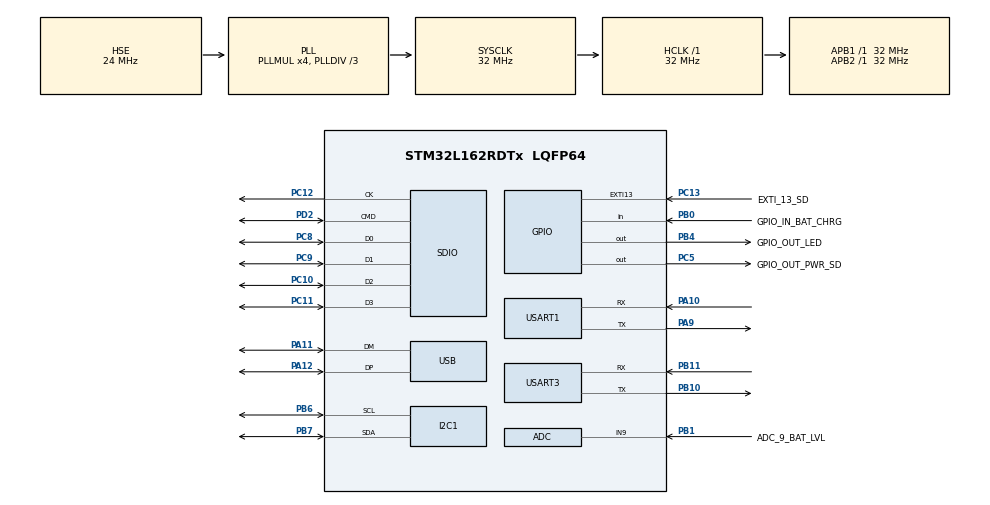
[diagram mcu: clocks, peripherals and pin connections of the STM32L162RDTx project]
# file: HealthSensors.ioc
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ADC.Channel-0\#ChannelRegularConversion=ADC_CHANNEL_9
ADC.ChannelsBank=ADC_CHANNELS_BANK_A
ADC.ClockPrescaler=ADC_CLOCK_ASYNC_DIV1
ADC.ContinuousConvMode=DISABLE
ADC.DMAContinuousRequests=DISABLE
ADC.DataAlign=ADC_DATAALIGN_RIGHT
ADC.DiscontinuousConvMode=DISABLE
ADC.EOCSelection=ADC_EOC_SEQ_CONV
ADC.EnableAnalogWatchDog=false
ADC.ExternalTrigConv=ADC_SOFTWARE_START
ADC.ExternalTrigConvEdge=ADC_EXTERNALTRIGCONVEDGE_NONE
ADC.InjNumberOfConversion=0
ADC.LowPowerAutoPowerOff=ADC_AUTOPOWEROFF_DISABLE
ADC.LowPowerAutoWait=ADC_AUTOWAIT_DISABLE
ADC.NbrOfConversion=1
ADC.NbrOfConversionFlag=1
ADC.Rank-0\#ChannelRegularConversion=1
ADC.Resolution=ADC_RESOLUTION_12B
ADC.SamplingTime-0\#ChannelRegularConversion=ADC_SAMPLETIME_4CYCLES
ADC.ScanConvMode=ADC_SCAN_DISABLE
AES.pKey=01 58 36 28 7F E6 CD 12 9A 65 68 6A 68 C8 98 9B
Mcu.Family=STM32L1
Mcu.Name=STM32L162RDTx
Mcu.Package=LQFP64
NVIC.ADC1_IRQn=true\:0\:0\:false\:true\:true\:9\:true
NVIC.AES_IRQn=true\:0\:0\:false\:true\:true\:11\:true
NVIC.EXTI15_10_IRQn=true\:0\:0\:false\:true\:true\:6\:true
NVIC.FLASH_IRQn=true\:0\:0\:false\:true\:true\:2\:true
NVIC.I2C1_ER_IRQn=true\:0\:0\:false\:true\:true\:8\:true
NVIC.I2C1_EV_IRQn=true\:0\:0\:false\:true\:true\:4\:true
NVIC.PriorityGroup=NVIC_PRIORITYGROUP_4
NVIC.RCC_IRQn=true\:0\:0\:false\:true\:true\:1\:true
NVIC.RTC_Alarm_IRQn=true\:0\:0\:false\:true\:true\:3\:true
NVIC.SDIO_IRQn=true\:0\:0\:false\:true\:true\:5\:true
NVIC.USART1_IRQn=true\:0\:0\:false\:true\:true\:7\:true
NVIC.USART3_IRQn=true\:0\:0\:false\:true\:true\:13\:true
NVIC.USB_HP_IRQn=true\:0\:0\:false\:true\:true\:12\:true
NVIC.USB_LP_IRQn=true\:0\:0\:false\:true\:true\:10\:false
PA10.Mode=Asynchronous
PA10.Signal=USART1_RX
PA11.Mode=Device
PA11.Signal=USB_DM
PA12.Mode=Device
PA12.Signal=USB_DP
PA13.Mode=Serial_Wire
PA13.Signal=SYS_JTMS-SWDIO
PA14.Mode=Serial_Wire
PA14.Signal=SYS_JTCK-SWCLK
PA9.Mode=Asynchronous
PA9.Signal=USART1_TX
PB0.GPIO_Label=GPIO_IN_BAT_CHRG
PB0.Signal=GPIO_Input
PB1.GPIO_Label=ADC_9_BAT_LVL
PB1.Mode=IN9
PB1.Signal=ADC_IN9
PB10.Mode=Asynchronous
PB10.Signal=USART3_TX
PB11.Mode=Asynchronous
PB11.Signal=USART3_RX
PB4.GPIO_Label=GPIO_OUT_LED
PB4.Signal=GPIO_Output
PB6.Mode=I2C
PB6.Signal=I2C1_SCL
PB7.Mode=I2C
PB7.Signal=I2C1_SDA
PC10.Mode=SD_4_bits_Wide_bus
PC10.Signal=SDIO_D2
PC11.Mode=SD_4_bits_Wide_bus
PC11.Signal=SDIO_D3
PC12.Mode=SD_4_bits_Wide_bus
PC12.Signal=SDIO_CK
PC13-WKUP2.GPIO_Label=EXTI_13_SD
PC13-WKUP2.GPIO_ModeDefaultEXTI=GPIO_MODE_IT_RISING_FALLING
PC13-WKUP2.Signal=GPXTI13
PC14-OSC32_IN.Mode=LSE-External-Oscillator
PC14-OSC32_IN.Signal=RCC_OSC32_IN
PC15-OSC32_OUT.Mode=LSE-External-Oscillator
PC15-OSC32_OUT.Signal=RCC_OSC32_OUT
PC5.GPIO_Label=GPIO_OUT_PWR_SD
PC5.Signal=GPIO_Output
PC8.Mode=SD_4_bits_Wide_bus
PC8.Signal=SDIO_D0
PC9.Mode=SD_4_bits_Wide_bus
PC9.Signal=SDIO_D1
PD2.Mode=SD_4_bits_Wide_bus
PD2.Signal=SDIO_CMD
PH0-OSC_IN.Mode=HSE-External-Oscillator
PH0-OSC_IN.Signal=RCC_OSC_IN
PH1-OSC_OUT.Mode=HSE-External-Oscillator
PH1-OSC_OUT.Signal=RCC_OSC_OUT
ProjectManager.HeapSize=0x2000
ProjectManager.StackSize=0x4000
ProjectManager.TargetToolchain=TrueSTUDIO
RCC.48MHZClocksFreq_Value=48000000
RCC.AHBFreq_Value=32000000
RCC.APB1Freq_Value=32000000
RCC.APB1TimFreq_Value=32000000
RCC.APB2Freq_Value=32000000
RCC.APB2TimFreq_Value=32000000
RCC.HCLKFreq_Value=32000000
RCC.HSE_VALUE=24000000
RCC.HSI_VALUE=16000000
RCC.MSI_VALUE=2097000
RCC.PLLDIV=RCC_PLL_DIV3
RCC.PLLMUL=RCC_PLL_MUL4
RCC.RTCClockSelectionVirtual=RCC_RTCCLKSOURCE_LSE
RCC.SYSCLKFreq_VALUE=32000000
RCC.SYSCLKSource=RCC_SYSCLKSOURCE_PLLCLK
RCC.VCOOutputFreq_Value=96000000
RTC.Alarm-Alarm\ A=RTC_ALARM_A
RTC.Date=30
RTC.Hours=20
RTC.Minutes=30
RTC.Month=RTC_MONTH_MARCH
RTC.Seconds=15
RTC.WeekDay=RTC_WEEKDAY_WEDNESDAY
RTC.Year=18
SDIO.ClockDiv=6
USART1.VirtualMode=VM_ASYNC
USART3.VirtualMode=VM_ASYNC
USB_DEVICE.CLASS_NAME_FS=CDC
USB_DEVICE.PRODUCT_STRING_CDC_FS=HealthSensors_ComPort
USB_DEVICE.VirtualMode=Cdc
USB_DEVICE.VirtualModeFS=Cdc_FS
VP_AES_VS_AES.Mode=AES_Activate
VP_CRC_VS_CRC.Mode=CRC_Activate
VP_FATFS_VS_SDIO.Mode=SDIO
VP_RTC_VS_RTC_Activate.Mode=RTC_Enabled
VP_RTC_VS_RTC_Alarm_A_Intern.Mode=Alarm A
VP_RTC_VS_RTC_Calendar.Mode=RTC_Calendar
VP_USB_DEVICE_VS_USB_DEVICE_CDC_FS.Mode=CDC_FS
board=HealthSensors

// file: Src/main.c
/**
  ******************************************************************************
  * File Name          : main.c
  * Description        : Main program body
  ******************************************************************************
  * This notice applies to any and all portions of this file
  * that are not between comment pairs USER CODE BEGIN and
  * USER CODE END. Other portions of this file, whether
  * inserted by the user or by software development tools
  * are owned by their respective copyright owners.
  *
  * Copyright (c) 2018 STMicroelectronics International N.V.
  * All rights reserved.
  *
  * Redistribution and use in source and binary forms, with or without
  * modification, are permitted, provided that the following conditions are met:
  *
  * 1. Redistribution of source code must retain the above copyright notice,
  *    this list of conditions and the following disclaimer.
  * 2. Redistributions in binary form must reproduce the above copyright notice,
  *    this list of conditions and the following disclaimer in the documentation
  *    and/or other materials provided with the distribution.
  * 3. Neither the name of STMicroelectronics nor the names of other
  *    contributors to this software may be used to endorse or promote products
  *    derived from this software without specific written permission.
  * 4. This software, including modifications and/or derivative works of this
  *    software, must execute solely and exclusively on microcontroller or
  *    microprocessor devices manufactured by or for STMicroelectronics.
  * 5. Redistribution and use of this software other than as permitted under
  *    this license is void and will automatically terminate your rights under
  *    this license.
  *
  * THIS SOFTWARE IS PROVIDED BY STMICROELECTRONICS AND CONTRIBUTORS "AS IS"
  * AND ANY EXPRESS, IMPLIED OR STATUTORY WARRANTIES, INCLUDING, BUT NOT
  * LIMITED TO, THE IMPLIED WARRANTIES OF MERCHANTABILITY, FITNESS FOR A
  * PARTICULAR PURPOSE AND NON-INFRINGEMENT OF THIRD PARTY INTELLECTUAL PROPERTY
  * RIGHTS ARE DISCLAIMED TO THE FULLEST EXTENT PERMITTED BY LAW. IN NO EVENT
  * SHALL STMICROELECTRONICS OR CONTRIBUTORS BE LIABLE FOR ANY DIRECT, INDIRECT,
  * INCIDENTAL, SPECIAL, EXEMPLARY, OR CONSEQUENTIAL DAMAGES (INCLUDING, BUT NOT
  * LIMITED TO, PROCUREMENT OF SUBSTITUTE GOODS OR SERVICES; LOSS OF USE, DATA,
  * OR PROFITS; OR BUSINESS INTERRUPTION) HOWEVER CAUSED AND ON ANY THEORY OF
  * LIABILITY, WHETHER IN CONTRACT, STRICT LIABILITY, OR TORT (INCLUDING
  * NEGLIGENCE OR OTHERWISE) ARISING IN ANY WAY OUT OF THE USE OF THIS SOFTWARE,
  * EVEN IF ADVISED OF THE POSSIBILITY OF SUCH DAMAGE.
  *
  ******************************************************************************
  */

#include "main.h"
#include "stm32l1xx_hal.h"
#include "fatfs.h"
#include "usb_device.h"

/* USER CODE BEGIN Includes */

#include "interrupts.h"
#include "battery.h"
#include "sd.h"
#include "control.h"
#include "clock.h"
#include "esp.h"
#include <stdlib.h>

/* USER CODE END Includes */

ADC_HandleTypeDef hadc;

CRYP_HandleTypeDef hcryp;
__ALIGN_BEGIN static const uint8_t pKeyAES[16] __ALIGN_END = {
                            0x01,0x58,0x36,0x28,0x7F,0xE6,0xCD,0x12,0x9A,0x65,
                            0x68,0x6A,0x68,0xC8,0x98,0x9B};

CRC_HandleTypeDef hcrc;

I2C_HandleTypeDef hi2c1;

RTC_HandleTypeDef hrtc;

SD_HandleTypeDef hsd;
HAL_SD_CardInfoTypedef SDCardInfo;

UART_HandleTypeDef huart1;
UART_HandleTypeDef huart3;

/* USER CODE BEGIN PV */
/* Private variables ---------------------------------------------------------*/

/* USER CODE END PV */

void SystemClock_Config(void);
static void MX_GPIO_Init(void);
static void MX_ADC_Init(void);
static void MX_USART1_UART_Init(void);
static void MX_SDIO_SD_Init(void);
static void MX_I2C1_Init(void);
static void MX_RTC_Init(void);
static void MX_CRC_Init(void);
static void MX_AES_Init(void);
static void MX_USART3_UART_Init(void);
static void MX_NVIC_Init(void);

/* USER CODE BEGIN PFP */
/* Private function prototypes -----------------------------------------------*/

/* USER CODE END PFP */

int main(void)
{

  /* USER CODE BEGIN 1 */
	uint8_t data[50];
	uint8_t data2[2]= {0x7E, 0x11};
	uint8_t date[4] = {3,12,11,6};
	uint8_t time[3] = {20, 36, 00};
	//uint8_t date[4] = {1, 1, 1, 1};
	uint8_t val;
	uint8_t size;
	uint8_t buff[16];
  /* USER CODE END 1 */

  /* MCU Configuration----------------------------------------------------------*/

  /* Reset of all peripherals, Initializes the Flash interface and the Systick. */
  HAL_Init();

  /* Configure the system clock */
  SystemClock_Config();

  /* Initialize all configured peripherals */
  MX_GPIO_Init();
  MX_FATFS_Init();
  MX_ADC_Init();
  MX_USART1_UART_Init();
  MX_SDIO_SD_Init();
  MX_I2C1_Init();
  MX_RTC_Init();
  MX_USB_DEVICE_Init();
  MX_CRC_Init();
  MX_AES_Init();
  MX_USART3_UART_Init();

  /* Initialize interrupts */
  MX_NVIC_Init();

  /* USER CODE BEGIN 2 */

  // Init handler
  CONTROL_initHandler();
  //MEASUREMENT_setMeasurement(0x78CB,0,2,10,30,1, time);
  //HAL_Delay(7500);
  //uint8_t dataxx[16] = {0};

  /* USER CODE END 2 */

  /* Infinite loop */
  while (1)
  {

  /* USER CODE BEGIN 3 */
	 //ESP_sendPpgFrame(dataxx);
	 CONTROL_idleHandler();
	 HAL_Delay(5);

	  //HAL_GPIO_TogglePin(GPIOB, GPIO_PIN_4);
//	  CLOCK_getTime(time);
//	  CLOCK_getDate(date);
//	 time[0] = alarm_time.AlarmTime.Hours;
//	 time[1] = alarm_time.AlarmTime.Minutes;
//	 time[2] = alarm_time.AlarmTime.Seconds;
//	  size = sprintf(data, "\nDate: %d:%d:%d %d, time: %d:%d:%d\n", date[0], date[1], date[2], date[3], time[0], time[1], time[2]);
//	  HAL_UART_Transmit_IT(&huart1, data, size);

  }
  /* USER CODE END 3 */

}

/** System Clock Configuration
*/
void SystemClock_Config(void)
{

  RCC_OscInitTypeDef RCC_OscInitStruct;
  RCC_ClkInitTypeDef RCC_ClkInitStruct;
  RCC_PeriphCLKInitTypeDef PeriphClkInit;

    /**Configure the main internal regulator output voltage
    */
  __HAL_PWR_VOLTAGESCALING_CONFIG(PWR_REGULATOR_VOLTAGE_SCALE1);

    /**Initializes the CPU, AHB and APB busses clocks
    */
  RCC_OscInitStruct.OscillatorType = RCC_OSCILLATORTYPE_HSI|RCC_OSCILLATORTYPE_HSE
                              |RCC_OSCILLATORTYPE_LSE;
  RCC_OscInitStruct.HSEState = RCC_HSE_ON;
  RCC_OscInitStruct.LSEState = RCC_LSE_ON;
  RCC_OscInitStruct.HSIState = RCC_HSI_ON;
  RCC_OscInitStruct.HSICalibrationValue = 16;
  RCC_OscInitStruct.PLL.PLLState = RCC_PLL_ON;
  RCC_OscInitStruct.PLL.PLLSource = RCC_PLLSOURCE_HSE;
  RCC_OscInitStruct.PLL.PLLMUL = RCC_PLL_MUL4;
  RCC_OscInitStruct.PLL.PLLDIV = RCC_PLL_DIV3;
  if (HAL_RCC_OscConfig(&RCC_OscInitStruct) != HAL_OK)
  {
    _Error_Handler(__FILE__, __LINE__);
  }

    /**Initializes the CPU, AHB and APB busses clocks
    */
  RCC_ClkInitStruct.ClockType = RCC_CLOCKTYPE_HCLK|RCC_CLOCKTYPE_SYSCLK
                              |RCC_CLOCKTYPE_PCLK1|RCC_CLOCKTYPE_PCLK2;
  RCC_ClkInitStruct.SYSCLKSource = RCC_SYSCLKSOURCE_PLLCLK;
  RCC_ClkInitStruct.AHBCLKDivider = RCC_SYSCLK_DIV1;
  RCC_ClkInitStruct.APB1CLKDivider = RCC_HCLK_DIV1;
  RCC_ClkInitStruct.APB2CLKDivider = RCC_HCLK_DIV1;

  if (HAL_RCC_ClockConfig(&RCC_ClkInitStruct, FLASH_LATENCY_1) != HAL_OK)
  {
    _Error_Handler(__FILE__, __LINE__);
  }

  PeriphClkInit.PeriphClockSelection = RCC_PERIPHCLK_RTC;
  PeriphClkInit.RTCClockSelection = RCC_RTCCLKSOURCE_LSE;
  if (HAL_RCCEx_PeriphCLKConfig(&PeriphClkInit) != HAL_OK)
  {
    _Error_Handler(__FILE__, __LINE__);
  }

    /**Configure the Systick interrupt time
    */
  HAL_SYSTICK_Config(HAL_RCC_GetHCLKFreq()/1000);

    /**Configure the Systick
    */
  HAL_SYSTICK_CLKSourceConfig(SYSTICK_CLKSOURCE_HCLK);

  /* SysTick_IRQn interrupt configuration */
  HAL_NVIC_SetPriority(SysTick_IRQn, 0, 0);
}

/** NVIC Configuration
*/
static void MX_NVIC_Init(void)
{
  /* RCC_IRQn interrupt configuration */
  HAL_NVIC_SetPriority(RCC_IRQn, 0, 0);
  HAL_NVIC_EnableIRQ(RCC_IRQn);
  /* FLASH_IRQn interrupt configuration */
  HAL_NVIC_SetPriority(FLASH_IRQn, 0, 0);
  HAL_NVIC_EnableIRQ(FLASH_IRQn);
  /* RTC_Alarm_IRQn interrupt configuration */
  HAL_NVIC_SetPriority(RTC_Alarm_IRQn, 0, 0);
  HAL_NVIC_EnableIRQ(RTC_Alarm_IRQn);
  /* I2C1_EV_IRQn interrupt configuration */
  HAL_NVIC_SetPriority(I2C1_EV_IRQn, 0, 0);
  HAL_NVIC_EnableIRQ(I2C1_EV_IRQn);
  /* SDIO_IRQn interrupt configuration */
  HAL_NVIC_SetPriority(SDIO_IRQn, 0, 0);
  HAL_NVIC_EnableIRQ(SDIO_IRQn);
  /* EXTI15_10_IRQn interrupt configuration */
  HAL_NVIC_SetPriority(EXTI15_10_IRQn, 0, 0);
  HAL_NVIC_EnableIRQ(EXTI15_10_IRQn);
  /* USART1_IRQn interrupt configuration */
  HAL_NVIC_SetPriority(USART1_IRQn, 0, 0);
  HAL_NVIC_EnableIRQ(USART1_IRQn);
  /* I2C1_ER_IRQn interrupt configuration */
  HAL_NVIC_SetPriority(I2C1_ER_IRQn, 0, 0);
  HAL_NVIC_EnableIRQ(I2C1_ER_IRQn);
  /* ADC1_IRQn interrupt configuration */
  HAL_NVIC_SetPriority(ADC1_IRQn, 0, 0);
  HAL_NVIC_EnableIRQ(ADC1_IRQn);
  /* USB_LP_IRQn interrupt configuration */
  HAL_NVIC_SetPriority(USB_LP_IRQn, 0, 0);
  HAL_NVIC_EnableIRQ(USB_LP_IRQn);
  /* AES_IRQn interrupt configuration */
  HAL_NVIC_SetPriority(AES_IRQn, 0, 0);
  HAL_NVIC_EnableIRQ(AES_IRQn);
  /* USB_HP_IRQn interrupt configuration */
  HAL_NVIC_SetPriority(USB_HP_IRQn, 0, 0);
  HAL_NVIC_EnableIRQ(USB_HP_IRQn);
  /* USART3_IRQn interrupt configuration */
  HAL_NVIC_SetPriority(USART3_IRQn, 0, 0);
  HAL_NVIC_EnableIRQ(USART3_IRQn);
}

/* ADC init function */
static void MX_ADC_Init(void)
{

  ADC_ChannelConfTypeDef sConfig;

    /**Configure the global features of the ADC (Clock, Resolution, Data Alignment and number of conversion)
    */
  hadc.Instance = ADC1;
  hadc.Init.ClockPrescaler = ADC_CLOCK_ASYNC_DIV1;
  hadc.Init.Resolution = ADC_RESOLUTION_12B;
  hadc.Init.DataAlign = ADC_DATAALIGN_RIGHT;
  hadc.Init.ScanConvMode = ADC_SCAN_DISABLE;
  hadc.Init.EOCSelection = ADC_EOC_SEQ_CONV;
  hadc.Init.LowPowerAutoWait = ADC_AUTOWAIT_DISABLE;
  hadc.Init.LowPowerAutoPowerOff = ADC_AUTOPOWEROFF_DISABLE;
  hadc.Init.ChannelsBank = ADC_CHANNELS_BANK_A;
  hadc.Init.ContinuousConvMode = DISABLE;
  hadc.Init.NbrOfConversion = 1;
  hadc.Init.DiscontinuousConvMode = DISABLE;
  hadc.Init.ExternalTrigConv = ADC_SOFTWARE_START;
  hadc.Init.ExternalTrigConvEdge = ADC_EXTERNALTRIGCONVEDGE_NONE;
  hadc.Init.DMAContinuousRequests = DISABLE;
  if (HAL_ADC_Init(&hadc) != HAL_OK)
  {
    _Error_Handler(__FILE__, __LINE__);
  }

    /**Configure for the selected ADC regular channel its corresponding rank in the sequencer and its sample time.
    */
  sConfig.Channel = ADC_CHANNEL_9;
  sConfig.Rank = 1;
  sConfig.SamplingTime = ADC_SAMPLETIME_4CYCLES;
  if (HAL_ADC_ConfigChannel(&hadc, &sConfig) != HAL_OK)
  {
    _Error_Handler(__FILE__, __LINE__);
  }

}

/* AES init function */
static void MX_AES_Init(void)
{

  hcryp.Instance = AES;
  hcryp.Init.DataType = CRYP_DATATYPE_32B;
  hcryp.Init.pKey = (uint8_t *)pKeyAES;
  if (HAL_CRYP_Init(&hcryp) != HAL_OK)
  {
    _Error_Handler(__FILE__, __LINE__);
  }

}

/* CRC init function */
static void MX_CRC_Init(void)
{

  hcrc.Instance = CRC;
  if (HAL_CRC_Init(&hcrc) != HAL_OK)
  {
    _Error_Handler(__FILE__, __LINE__);
  }

}

/* I2C1 init function */
static void MX_I2C1_Init(void)
{

  hi2c1.Instance = I2C1;
  hi2c1.Init.ClockSpeed = 100000;
  hi2c1.Init.DutyCycle = I2C_DUTYCYCLE_2;
  hi2c1.Init.OwnAddress1 = 0;
  hi2c1.Init.AddressingMode = I2C_ADDRESSINGMODE_7BIT;
  hi2c1.Init.DualAddressMode = I2C_DUALADDRESS_DISABLE;
  hi2c1.Init.OwnAddress2 = 0;
  hi2c1.Init.GeneralCallMode = I2C_GENERALCALL_DISABLE;
  hi2c1.Init.NoStretchMode = I2C_NOSTRETCH_DISABLE;
  if (HAL_I2C_Init(&hi2c1) != HAL_OK)
  {
    _Error_Handler(__FILE__, __LINE__);
  }

}

/* RTC init function */
static void MX_RTC_Init(void)
{

  RTC_TimeTypeDef sTime;
  RTC_DateTypeDef sDate;
  RTC_AlarmTypeDef sAlarm;

    /**Initialize RTC Only
    */
  hrtc.Instance = RTC;
  hrtc.Init.HourFormat = RTC_HOURFORMAT_24;
  hrtc.Init.AsynchPrediv = 127;
  hrtc.Init.SynchPrediv = 255;
  hrtc.Init.OutPut = RTC_OUTPUT_DISABLE;
  hrtc.Init.OutPutPolarity = RTC_OUTPUT_POLARITY_HIGH;
  hrtc.Init.OutPutType = RTC_OUTPUT_TYPE_OPENDRAIN;
  if (HAL_RTC_Init(&hrtc) != HAL_OK)
  {
    _Error_Handler(__FILE__, __LINE__);
  }

    /**Initialize RTC and set the Time and Date
    */
  if(HAL_RTCEx_BKUPRead(&hrtc, RTC_BKP_DR0) != 0x32F2){
  sTime.Hours = 0x20;
  sTime.Minutes = 0x30;
  sTime.Seconds = 0x15;
  sTime.DayLightSaving = RTC_DAYLIGHTSAVING_NONE;
  sTime.StoreOperation = RTC_STOREOPERATION_RESET;
  if (HAL_RTC_SetTime(&hrtc, &sTime, RTC_FORMAT_BCD) != HAL_OK)
  {
    _Error_Handler(__FILE__, __LINE__);
  }

  sDate.WeekDay = RTC_WEEKDAY_WEDNESDAY;
  sDate.Month = RTC_MONTH_MARCH;
  sDate.Date = 0x30;
  sDate.Year = 0x18;

  if (HAL_RTC_SetDate(&hrtc, &sDate, RTC_FORMAT_BCD) != HAL_OK)
  {
    _Error_Handler(__FILE__, __LINE__);
  }

    HAL_RTCEx_BKUPWrite(&hrtc,RTC_BKP_DR0,0x32F2);
  }
    /**Enable the Alarm A
    */
  sAlarm.AlarmTime.Hours = 0x0;
  sAlarm.AlarmTime.Minutes = 0x0;
  sAlarm.AlarmTime.Seconds = 0x0;
  sAlarm.AlarmTime.SubSeconds = 0x0;
  sAlarm.AlarmTime.DayLightSaving = RTC_DAYLIGHTSAVING_NONE;
  sAlarm.AlarmTime.StoreOperation = RTC_STOREOPERATION_RESET;
  sAlarm.AlarmMask = RTC_ALARMMASK_NONE;
  sAlarm.AlarmSubSecondMask = RTC_ALARMSUBSECONDMASK_ALL;
  sAlarm.AlarmDateWeekDaySel = RTC_ALARMDATEWEEKDAYSEL_DATE;
  sAlarm.AlarmDateWeekDay = 0x1;
  sAlarm.Alarm = RTC_ALARM_A;
  if (HAL_RTC_SetAlarm_IT(&hrtc, &sAlarm, RTC_FORMAT_BCD) != HAL_OK)
  {
    _Error_Handler(__FILE__, __LINE__);
  }

}

/* SDIO init function */
static void MX_SDIO_SD_Init(void)
{

  hsd.Instance = SDIO;
  hsd.Init.ClockEdge = SDIO_CLOCK_EDGE_RISING;
  hsd.Init.ClockBypass = SDIO_CLOCK_BYPASS_DISABLE;
  hsd.Init.ClockPowerSave = SDIO_CLOCK_POWER_SAVE_DISABLE;
  hsd.Init.BusWide = SDIO_BUS_WIDE_1B;
  hsd.Init.HardwareFlowControl = SDIO_HARDWARE_FLOW_CONTROL_DISABLE;
  hsd.Init.ClockDiv = 6;

}

/* USART1 init function */
static void MX_USART1_UART_Init(void)
{

  huart1.Instance = USART1;
  huart1.Init.BaudRate = 115200;
  huart1.Init.WordLength = UART_WORDLENGTH_8B;
  huart1.Init.StopBits = UART_STOPBITS_1;
  huart1.Init.Parity = UART_PARITY_NONE;
  huart1.Init.Mode = UART_MODE_TX_RX;
  huart1.Init.HwFlowCtl = UART_HWCONTROL_NONE;
  huart1.Init.OverSampling = UART_OVERSAMPLING_16;
  if (HAL_UART_Init(&huart1) != HAL_OK)
  {
    _Error_Handler(__FILE__, __LINE__);
  }

}

/* USART3 init function */
static void MX_USART3_UART_Init(void)
{

  huart3.Instance = USART3;
  huart3.Init.BaudRate = 115200;
  huart3.Init.WordLength = UART_WORDLENGTH_8B;
  huart3.Init.StopBits = UART_STOPBITS_1;
  huart3.Init.Parity = UART_PARITY_NONE;
  huart3.Init.Mode = UART_MODE_TX_RX;
  huart3.Init.HwFlowCtl = UART_HWCONTROL_NONE;
  huart3.Init.OverSampling = UART_OVERSAMPLING_16;
  if (HAL_UART_Init(&huart3) != HAL_OK)
  {
    _Error_Handler(__FILE__, __LINE__);
  }

}

/** Configure pins as
        * Analog
        * Input
        * Output
        * EVENT_OUT
        * EXTI
*/
static void MX_GPIO_Init(void)
{

  GPIO_InitTypeDef GPIO_InitStruct;

  /* GPIO Ports Clock Enable */
  __HAL_RCC_GPIOC_CLK_ENABLE();
  __HAL_RCC_GPIOH_CLK_ENABLE();
  __HAL_RCC_GPIOB_CLK_ENABLE();
  __HAL_RCC_GPIOA_CLK_ENABLE();
  __HAL_RCC_GPIOD_CLK_ENABLE();

  /*Configure GPIO pin Output Level */
  HAL_GPIO_WritePin(GPIO_OUT_PWR_SD_GPIO_Port, GPIO_OUT_PWR_SD_Pin, GPIO_PIN_RESET);

  /*Configure GPIO pin Output Level */
  HAL_GPIO_WritePin(GPIO_OUT_LED_GPIO_Port, GPIO_OUT_LED_Pin, GPIO_PIN_RESET);

  /*Configure GPIO pin : EXTI_13_SD_Pin */
  GPIO_InitStruct.Pin = EXTI_13_SD_Pin;
  GPIO_InitStruct.Mode = GPIO_MODE_IT_RISING_FALLING;
  GPIO_InitStruct.Pull = GPIO_NOPULL;
  HAL_GPIO_Init(EXTI_13_SD_GPIO_Port, &GPIO_InitStruct);

  /*Configure GPIO pin : GPIO_OUT_PWR_SD_Pin */
  GPIO_InitStruct.Pin = GPIO_OUT_PWR_SD_Pin;
  GPIO_InitStruct.Mode = GPIO_MODE_OUTPUT_PP;
  GPIO_InitStruct.Pull = GPIO_NOPULL;
  GPIO_InitStruct.Speed = GPIO_SPEED_FREQ_LOW;
  HAL_GPIO_Init(GPIO_OUT_PWR_SD_GPIO_Port, &GPIO_InitStruct);

  /*Configure GPIO pin : GPIO_IN_BAT_CHRG_Pin */
  GPIO_InitStruct.Pin = GPIO_IN_BAT_CHRG_Pin;
  GPIO_InitStruct.Mode = GPIO_MODE_INPUT;
  GPIO_InitStruct.Pull = GPIO_NOPULL;
  HAL_GPIO_Init(GPIO_IN_BAT_CHRG_GPIO_Port, &GPIO_InitStruct);

  /*Configure GPIO pin : GPIO_OUT_LED_Pin */
  GPIO_InitStruct.Pin = GPIO_OUT_LED_Pin;
  GPIO_InitStruct.Mode = GPIO_MODE_OUTPUT_PP;
  GPIO_InitStruct.Pull = GPIO_NOPULL;
  GPIO_InitStruct.Speed = GPIO_SPEED_FREQ_LOW;
  HAL_GPIO_Init(GPIO_OUT_LED_GPIO_Port, &GPIO_InitStruct);

}

void _Error_Handler(char * file, int line)
{
  while(1)
  {
  }
}

/************************ (C) COPYRIGHT STMicroelectronics *****END OF FILE****/
